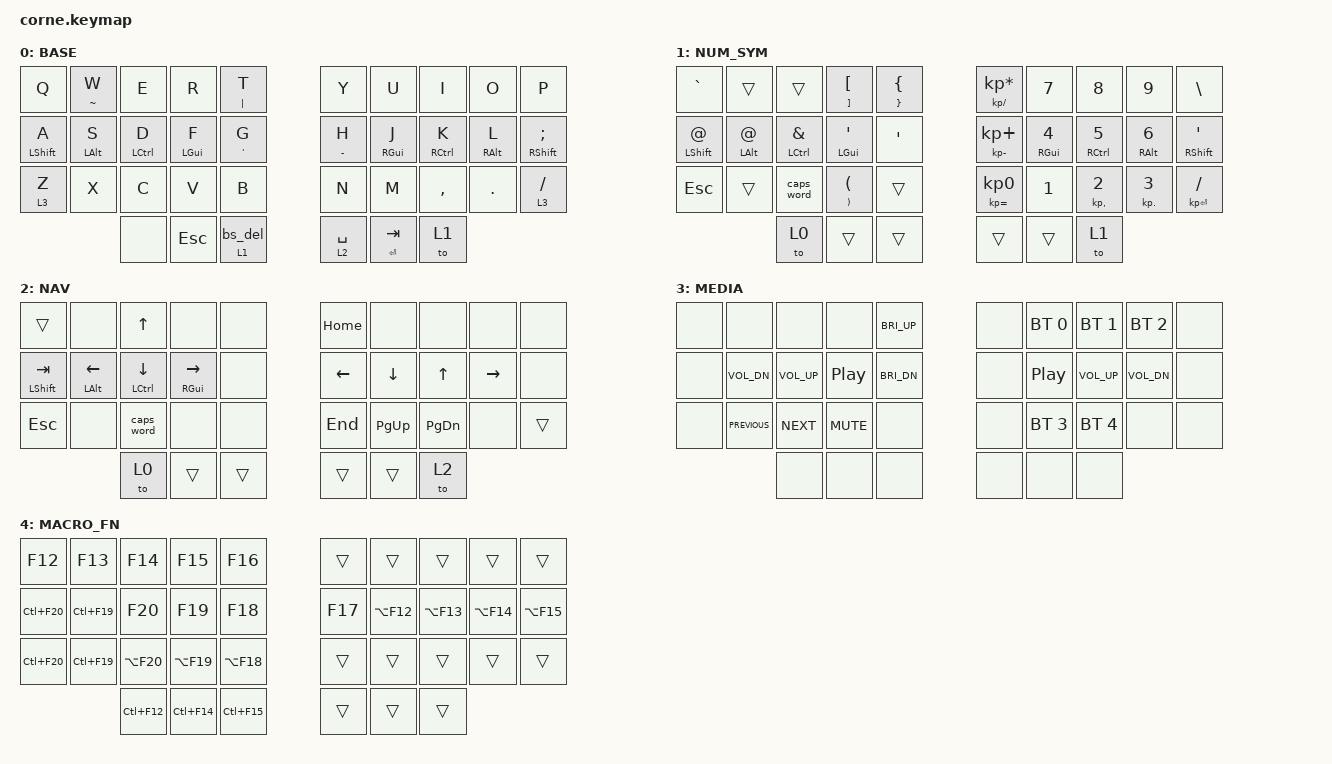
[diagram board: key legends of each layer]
/*
 * Copyright (c) 2020 The ZMK Contributors
 *
 * SPDX-License-Identifier: MIT
 */

#include <behaviors.dtsi>
#include <dt-bindings/zmk/bt.h>
#include <dt-bindings/zmk/keys.h>

#define BASE 0
#define NUM_SYM 1
#define NAV  2
#define MEDIA 3
#define MACRO_FN 4

/ {
    chosen {
        //zmk,matrix_transform = &default_transform;

        zmk,matrix_transform = &five_column_transform;
    };
};

// -- PROPERTIES --

&lt { quick-tap-ms = <199>; };

&mt { quick-tap-ms = <199>; };

// &mt { tapping-term-ms = <150>; };

/ {
    behaviors {
        hm: homerow_mods {
            compatible = "zmk,behavior-hold-tap";
            label = "HOMEROW_MODS";
            #binding-cells = <2>;
            tapping-term-ms = <150>;
            quick-tap-ms = <0>;
            flavor = "tap-preferred";
            bindings = <&kp>, <&kp>;
        };

        // TAP weighted tap-hold

        th: tap_hold {
            compatible = "zmk,behavior-hold-tap";

            //label = "TAP_hold";

            #binding-cells = <2>;
            tapping-term-ms = <150>;
            quick-tap-ms = <0>;
            flavor = "tap-preferred";
            bindings = <&kp>, <&kp>;
        };

        // HOLD weighted tap-hold

        ht: hold_tap {
            compatible = "zmk,behavior-hold-tap";

            //label = "HOLD_tap";

            #binding-cells = <2>;
            tapping-term-ms = <150>;
            quick-tap-ms = <0>;
            flavor = "hold-preferred";
            bindings = <&kp>, <&kp>;
        };

        // backspace SHIFT to delete

        bs_del: backspace_delete {
            compatible = "zmk,behavior-mod-morph";
            #binding-cells = <0>;
            bindings = <&kp BACKSPACE>, <&kp DELETE>;

            mods = <(MOD_LSFT|MOD_RSFT)>;
        };

        // needs a '0' place holder in the tap position

        lt_bs_del: layer_tap_bs_del {
            compatible = "zmk,behavior-hold-tap";
            label = "LAYER_TAP_BACKSPACE_DELETE";
            #binding-cells = <2>;
            bindings = <&mo>, <&bs_del>;

            tapping-term-ms = <200>;
            quick-tap-ms = <199>;
        };
    };

    combos {
        compatible = "zmk,combos";

        clear_bt {
            bindings = <&bt BT_CLR>;
            key-positions = <5 9>;
            layers = <3>;
        };

        system_power {
            bindings = <&kp C_POWER>;
            key-positions = <0 10 20 32>;
        };

        caps-word_action {
            bindings = <&caps_word>;
            key-positions = <19 10>;
            timeout-ms = <0>;
            layers = <0>;
        };
    };

    keymap {
        compatible = "zmk,keymap";

        Alphas {
            label = "BASE";
            bindings = <
  &kp Q             &mt TILDE W  &kp E               &kp R           &th PIPE T        &kp Y        &kp U            &kp I                &kp O       &kp P
  &hm LEFT_SHIFT A  &hm LALT S   &hm LEFT_CONTROL D  &hm LEFT_GUI F  &hm SQT G         &th MINUS H  &hm RIGHT_GUI J  &hm RIGHT_CONTROL K  &hm RALT L  &hm RIGHT_SHIFT SEMI
  &lt 3 Z           &kp X        &kp C               &kp V           &kp B             &kp N        &kp M            &kp COMMA            &kp DOT     &lt 3 FSLH
                                 &none               &kp ESC         &lt_bs_del 1 0    &lt 2 SPACE  &th ENTER TAB    &to 1
            >;
        };

        Number_Symbols {
            label = "NUM_SYM";
            bindings = <
  &kp GRAVE      &trans           &trans                 &mt RIGHT_BRACKET LBKT      &mt RIGHT_BRACE LEFT_BRACE    &mt KP_DIVIDE KP_MULTIPLY  &kp N7            &kp N8                &kp N9                  &kp BSLH
  &hm LSHIFT AT  &hm LEFT_ALT AT  &hm LEFT_CONTROL AMPS  &hm LGUI SINGLE_QUOTE       &kp SQT                       &mt KP_MINUS KP_PLUS       &hm RIGHT_GUI N4  &hm RIGHT_CONTROL N5  &hm RIGHT_ALT NUMBER_6  &hm RIGHT_SHIFT SQT
  &kp ESC        &trans           &caps_word             &mt RIGHT_PARENTHESIS LPAR  &trans                        &mt KP_EQUAL KP_N0         &kp NUMBER_1      &mt KP_COMMA N2       &mt KP_DOT N3           &mt KP_ENTER SLASH
                                  &to 0                  &trans                      &trans                        &trans                     &trans            &to 1
            >;
        };

        Navigation {
            label = "NAV";
            bindings = <
  &trans              &none              &kp UP                 &none                &none     &kp HOME  &none        &none          &none      &none
  &hm LEFT_SHIFT TAB  &hm LEFT_ALT LEFT  &hm LEFT_CONTROL DOWN  &hm RIGHT_GUI RIGHT  &none     &kp LEFT  &kp DOWN     &kp UP         &kp RIGHT  &none
  &kp ESC             &none              &caps_word             &none                &none     &kp END   &kp PAGE_UP  &kp PAGE_DOWN  &none      &trans
                                         &to 0                  &trans               &trans    &trans    &trans       &to 2
            >;
        };

        Media {
            label = "MEDIA";
            bindings = <
  &none  &none           &none         &none             &kp C_BRI_UP    &none  &bt BT_SEL 0      &bt BT_SEL 1  &bt BT_SEL 2  &none
  &none  &kp C_VOL_DN    &kp C_VOL_UP  &kp C_PLAY_PAUSE  &kp C_BRI_DN    &none  &kp C_PLAY_PAUSE  &kp C_VOL_UP  &kp C_VOL_DN  &none
  &none  &kp C_PREVIOUS  &kp C_NEXT    &kp C_MUTE        &none           &none  &bt BT_SEL 3      &bt BT_SEL 4  &none         &none
                         &none         &none             &none           &none  &none             &none
            >;
        };

        Macro_FN {
            label = "MACRO_FN";
            bindings = <
  &kp F12      &kp F13      &kp F14      &kp F15      &kp F16        &trans   &trans       &trans       &trans       &trans
  &kp LC(F20)  &kp LC(F19)  &kp F20      &kp F19      &kp F18        &kp F17  &kp LA(F12)  &kp LA(F13)  &kp LA(F14)  &kp LA(F15)
  &kp LC(F20)  &kp LC(F19)  &kp LA(F20)  &kp LA(F19)  &kp LA(F18)    &trans   &trans       &trans       &trans       &trans
                            &kp LC(F12)  &kp LC(F14)  &kp LC(F15)    &trans   &trans       &trans
            >;
        };
    };
};
